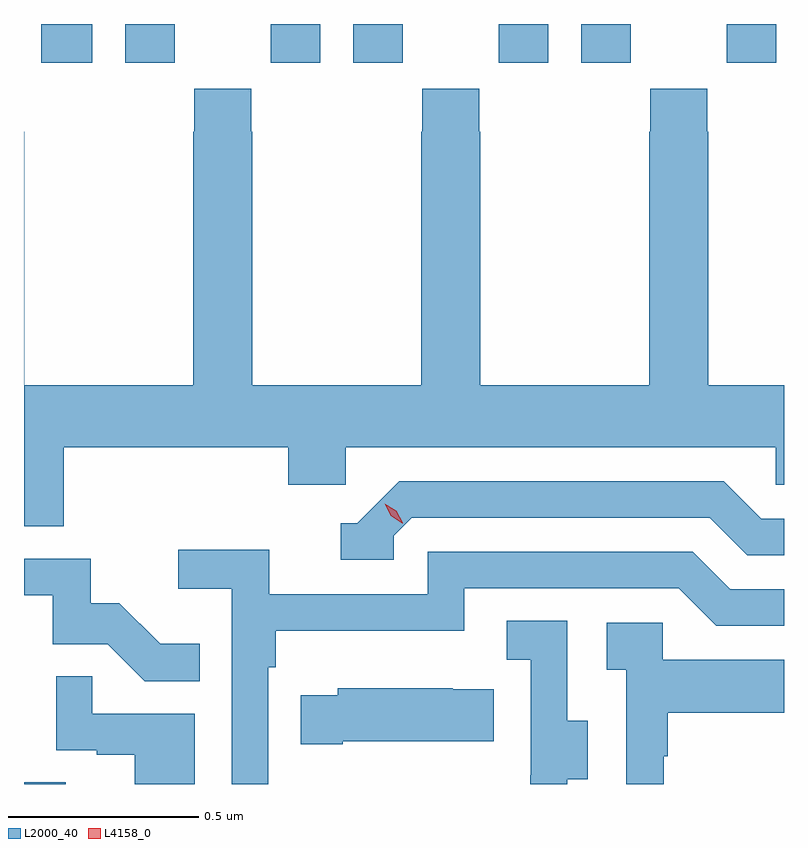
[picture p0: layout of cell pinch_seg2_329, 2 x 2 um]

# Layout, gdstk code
import gdstk
lib = gdstk.Library(unit=1e-6, precision=1e-09)
def R(c, l, rs):  # rectangles x0, y0, x1, y1
    for r in rs: c.add(gdstk.rectangle(r[:2], r[2:], *l))
def P(c, l, *ps):  # polygons
    for p in ps: c.add(gdstk.Polygon(p, *l))
L2000_40 = (2000, 40)
L4158_0 = (4158, 0)

pinch_seg2_329 = lib.new_cell('pinch_seg2_329')
R(pinch_seg2_329, L2000_40, [(909.197,625.438,909.307,625.442), (909.242,627.336,909.376,627.438), (909.464,627.336,909.594,627.438), (909.846,627.336,909.976,627.438), (910.064,627.336,910.194,627.438), (910.446,627.336,910.576,627.438), (910.664,627.336,910.794,627.438), (911.046,627.336,911.176,627.438)])
P(pinch_seg2_329, L2000_40, [(909.302,626.324),(909.893,626.324),(909.893,626.226),(910.044,626.226),(910.044,626.324),(911.175,626.324),(911.175,626.226),(911.197,626.226),(911.197,626.488),(910.998,626.488),(910.998,627.155),(910.995,627.155),(910.995,627.268),(910.845,627.268),(910.845,627.155),(910.843,627.155),(910.843,626.488),(910.398,626.488),(910.398,627.155),(910.395,627.155),(910.395,627.268),(910.245,627.268),(910.245,627.155),(910.243,627.155),(910.243,626.488),(909.798,626.488),(909.798,627.155),(909.795,627.155),(909.795,627.268),(909.645,627.268),(909.645,627.155),(909.643,627.155),(909.643,626.488),(909.198,626.488),(909.198,627.155),(909.197,627.155),(909.197,626.116),(909.302,626.116)],
  [(910.17,626.091),(910.218,626.139),(911.001,626.139),(911.1,626.04),(911.197,626.04),(911.197,626.136),(911.137,626.136),(911.038,626.235),(910.185,626.235),(910.074,626.124),(910.031,626.124),(910.031,626.028),(910.17,626.028)],
  [(909.84,625.745),(909.86,625.745),(909.86,625.841),(910.356,625.841),(910.356,625.953),(910.92,625.953),(911.019,625.854),(911.197,625.854),(911.197,625.95),(911.056,625.95),(910.957,626.049),(910.26,626.049),(910.26,625.938),(909.842,625.938),(909.842,626.054),(909.603,626.054),(909.603,625.952),(909.744,625.952),(909.744,625.438),(909.84,625.438)],
  [(909.659,625.807),(909.555,625.807),(909.448,625.914),(909.372,625.914),(909.372,626.031),(909.197,626.031),(909.197,625.935),(909.273,625.935),(909.273,625.806),(909.417,625.806),(909.515,625.708),(909.659,625.708)],
  [(910.627,625.45),(910.681,625.45),(910.681,625.605),(910.626,625.605),(910.626,625.868),(910.467,625.868),(910.467,625.765),(910.53,625.765),(910.53,625.461),(910.529,625.461),(910.529,625.438),(910.627,625.438)],
  [(910.881,625.511),(910.891,625.511),(910.891,625.625),(911.197,625.625),(911.197,625.765),(910.878,625.765),(910.878,625.863),(910.731,625.863),(910.731,625.739),(910.782,625.739),(910.782,625.438),(910.881,625.438)],
  [(909.646,625.623),(909.377,625.623),(909.377,625.721),(909.282,625.721),(909.282,625.527),(909.389,625.527),(909.389,625.515),(909.488,625.515),(909.488,625.438),(909.646,625.438)],
  [(910.036,625.55),(910.433,625.55),(910.433,625.687),(910.325,625.687),(910.325,625.69),(910.023,625.69),(910.023,625.672),(909.925,625.672),(909.925,625.543),(910.036,625.543)])
P(pinch_seg2_329, L4158_0, [(910.193,626.124),(910.162,626.144),(910.146,626.176),(910.146,626.176),(910.146,626.176),(910.177,626.157),(910.194,626.125),(910.194,626.124)])

lib.write_gds('pinch_seg2_329.gds')
